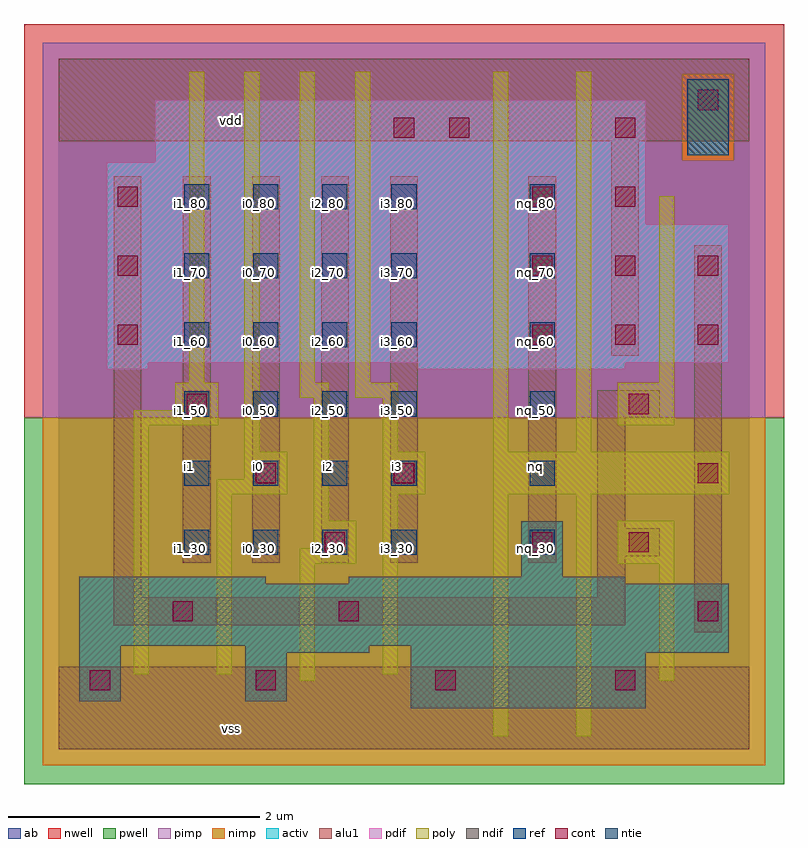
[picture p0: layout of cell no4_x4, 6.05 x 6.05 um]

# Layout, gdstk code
import gdstk
lib = gdstk.Library(unit=1e-6, precision=2.5e-09)
def R(c, l, rs):  # rectangles x0, y0, x1, y1
    for r in rs: c.add(gdstk.rectangle(r[:2], r[2:], *l))
def A(c, l, x, y, w, h, nx, ny, dx, dy):  # array of equal rectangles
    R(c, l, [(x+i*dx, y+j*dy, x+i*dx+w, y+j*dy+h) for i in range(nx) for j in range(ny)])
ndif = (3, 0)
pdif = (4, 0)
ntie = (5, 0)
ref = (24, 0)
cont = (25, 0)
pwell = (41, 0)
nwell = (42, 0)
activ = (43, 0)
pimp = (44, 0)
nimp = (45, 0)
poly = (46, 0)
alu1 = (49, 0)
ab = (63, 0)

no4_x4 = lib.new_cell('no4_x4')
R(no4_x4, ndif, [(2.805,0.33,4.675,0.77), (0.165,0.385,0.495,0.825), (1.485,0.385,1.815,0.77), (1.485,0.77,2.475,0.825), (2.805,0.77,5.335,0.825), (0.165,0.825,5.335,1.32), (0.165,1.32,1.65,1.375), (2.31,1.32,4.51,1.375), (3.685,1.375,4.015,1.815)])
R(no4_x4, pdif, [(0.385,3.025,0.715,3.08), (2.86,3.025,4.51,3.08), (0.385,3.08,5.335,4.18), (0.385,4.18,4.675,4.675), (0.77,4.675,4.675,5.17)])
R(no4_x4, ntie, [(5.005,4.73,5.335,5.335)])
A(no4_x4, ref, 1, 1.55, 0.2, 0.2, 4, 6, 0.55, 0.55)
A(no4_x4, ref, 3.75, 1.55, 0.2, 0.2, 1, 6, 0, 0.55)
A(no4_x4, cont, 1.57, 0.47, 0.16, 0.16, 3, 1, 1.43, 0)
A(no4_x4, cont, 0.47, 3.22, 0.16, 0.16, 1, 3, 0, 0.55)
A(no4_x4, cont, 3.77, 3.22, 0.16, 0.16, 3, 2, 0.66, 0.55)
R(no4_x4, cont, [(0.25,0.47,0.41,0.63), (0.91,1.02,1.07,1.18), (2.23,1.02,2.39,1.18), (5.09,1.02,5.25,1.18), (2.12,1.57,2.28,1.73), (3.77,1.57,3.93,1.73), (4.54,1.57,4.7,1.73), (1.57,2.12,1.73,2.28), (2.67,2.12,2.83,2.28), (5.09,2.12,5.25,2.28), (1.02,2.67,1.18,2.83), (4.54,2.67,4.7,2.83), (3.77,4.32,3.93,4.48), (4.43,4.32,4.59,4.48), (2.67,4.87,2.83,5.03), (3.11,4.87,3.27,5.03), (4.43,4.87,4.59,5.03), (5.09,5.09,5.25,5.25)])
R(no4_x4, pwell, [(-0.275,-0.275,5.775,2.64)])
R(no4_x4, nwell, [(-0.275,2.64,5.775,5.775)])
R(no4_x4, activ, [(2.805,0.33,4.675,0.77), (0.165,0.385,0.495,0.825), (1.485,0.385,1.815,0.77), (1.485,0.77,2.475,0.825), (2.805,0.77,5.335,0.825), (0.165,0.825,5.335,1.32), (0.165,1.32,1.65,1.375), (2.31,1.32,4.51,1.375), (3.685,1.375,4.015,1.815), (0.385,3.025,0.715,3.08), (2.86,3.025,4.51,3.08), (0.385,3.08,5.335,4.18), (0.385,4.18,4.675,4.675), (0.77,4.675,4.675,5.17), (5.005,4.73,5.335,5.335)])
R(no4_x4, pimp, [(-0.125,2.64,5.625,4.69), (-0.125,4.69,4.965,5.375), (5.375,4.69,5.625,5.375), (-0.125,5.375,5.625,5.625)])
R(no4_x4, nimp, [(-0.125,-0.125,5.625,2.64), (4.965,4.69,5.375,5.375)])
R(no4_x4, poly, [(3.46,0.105,3.58,2.03), (4.12,0.105,4.24,2.03), (1.92,0.545,2.04,1.48), (4.78,0.545,4.9,1.48), (0.6,0.6,0.72,2.58), (1.26,0.6,1.38,2.03), (2.58,0.6,2.7,2.03), (1.92,1.48,2.37,1.6), (4.45,1.48,4.9,1.82), (2.03,1.6,2.37,1.82), (2.03,1.82,2.15,2.8), (1.26,2.03,1.82,2.15), (2.58,2.03,2.92,2.37), (3.46,2.03,5.34,2.37), (1.48,2.15,1.82,2.37), (1.48,2.37,1.6,5.395), (2.58,2.37,2.7,2.8), (3.46,2.37,3.58,5.395), (4.12,2.37,4.24,5.395), (0.6,2.58,1.27,2.7), (4.45,2.58,4.9,2.92), (0.93,2.7,1.27,2.92), (1.92,2.8,2.15,2.92), (2.36,2.8,2.7,2.92), (1.04,2.92,1.16,5.395), (1.92,2.92,2.04,5.395), (2.36,2.92,2.48,5.395), (4.78,2.92,4.9,4.405)])
A(no4_x4, alu1, 0.99, 1.485, 0.22, 3.08, 4, 1, 0.55, 0)
R(no4_x4, alu1, [(0,0,5.5,0.66), (5.06,0.935,5.28,4.015), (0.44,0.99,4.51,1.21), (0.44,1.21,0.66,4.565), (4.29,1.21,4.51,1.54), (3.74,1.485,3.96,4.565), (4.29,1.54,4.785,1.76), (4.29,1.76,4.51,2.64), (4.29,2.64,4.785,2.86), (4.4,3.135,4.62,4.84), (0,4.84,5.5,5.5)])
R(no4_x4, ab, [(0,0,5.5,5.5)])
no4_x4.add(gdstk.Label('vss', (1.375,0.165), layer=49, texttype=0))
no4_x4.add(gdstk.Label('nq', (3.795,2.255), layer=49, texttype=0))
no4_x4.add(gdstk.Label('i3', (2.695,2.255), layer=49, texttype=0))
no4_x4.add(gdstk.Label('i2', (2.145,2.255), layer=49, texttype=0))
no4_x4.add(gdstk.Label('i0', (1.595,2.255), layer=49, texttype=0))
no4_x4.add(gdstk.Label('i1', (1.045,2.255), layer=49, texttype=0))
no4_x4.add(gdstk.Label('vdd', (1.375,5.005), layer=49, texttype=0))
no4_x4.add(gdstk.Label('nq_60', (3.8,3.25), layer=24, texttype=0))
no4_x4.add(gdstk.Label('nq_50', (3.8,2.7), layer=24, texttype=0))
no4_x4.add(gdstk.Label('nq_40', (3.8,2.15), layer=24, texttype=0))
no4_x4.add(gdstk.Label('nq_30', (3.8,1.6), layer=24, texttype=0))
no4_x4.add(gdstk.Label('nq_80', (3.8,4.35), layer=24, texttype=0))
no4_x4.add(gdstk.Label('nq_70', (3.8,3.8), layer=24, texttype=0))
no4_x4.add(gdstk.Label('i3_30', (2.7,1.6), layer=24, texttype=0))
no4_x4.add(gdstk.Label('i3_40', (2.7,2.15), layer=24, texttype=0))
no4_x4.add(gdstk.Label('i3_50', (2.7,2.7), layer=24, texttype=0))
no4_x4.add(gdstk.Label('i3_60', (2.7,3.25), layer=24, texttype=0))
no4_x4.add(gdstk.Label('i3_70', (2.7,3.8), layer=24, texttype=0))
no4_x4.add(gdstk.Label('i3_80', (2.7,4.35), layer=24, texttype=0))
no4_x4.add(gdstk.Label('i1_80', (1.05,4.35), layer=24, texttype=0))
no4_x4.add(gdstk.Label('i1_70', (1.05,3.8), layer=24, texttype=0))
no4_x4.add(gdstk.Label('i1_60', (1.05,3.25), layer=24, texttype=0))
no4_x4.add(gdstk.Label('i1_50', (1.05,2.7), layer=24, texttype=0))
no4_x4.add(gdstk.Label('i1_40', (1.05,2.15), layer=24, texttype=0))
no4_x4.add(gdstk.Label('i1_30', (1.05,1.6), layer=24, texttype=0))
no4_x4.add(gdstk.Label('i0_30', (1.6,1.6), layer=24, texttype=0))
no4_x4.add(gdstk.Label('i0_40', (1.6,2.15), layer=24, texttype=0))
no4_x4.add(gdstk.Label('i0_50', (1.6,2.7), layer=24, texttype=0))
no4_x4.add(gdstk.Label('i0_60', (1.6,3.25), layer=24, texttype=0))
no4_x4.add(gdstk.Label('i0_70', (1.6,3.8), layer=24, texttype=0))
no4_x4.add(gdstk.Label('i0_80', (1.6,4.35), layer=24, texttype=0))
no4_x4.add(gdstk.Label('i2_30', (2.15,1.6), layer=24, texttype=0))
no4_x4.add(gdstk.Label('i2_40', (2.15,2.15), layer=24, texttype=0))
no4_x4.add(gdstk.Label('i2_50', (2.15,2.7), layer=24, texttype=0))
no4_x4.add(gdstk.Label('i2_60', (2.15,3.25), layer=24, texttype=0))
no4_x4.add(gdstk.Label('i2_70', (2.15,3.8), layer=24, texttype=0))
no4_x4.add(gdstk.Label('i2_80', (2.15,4.35), layer=24, texttype=0))

lib.write_gds('no4_x4.gds')
